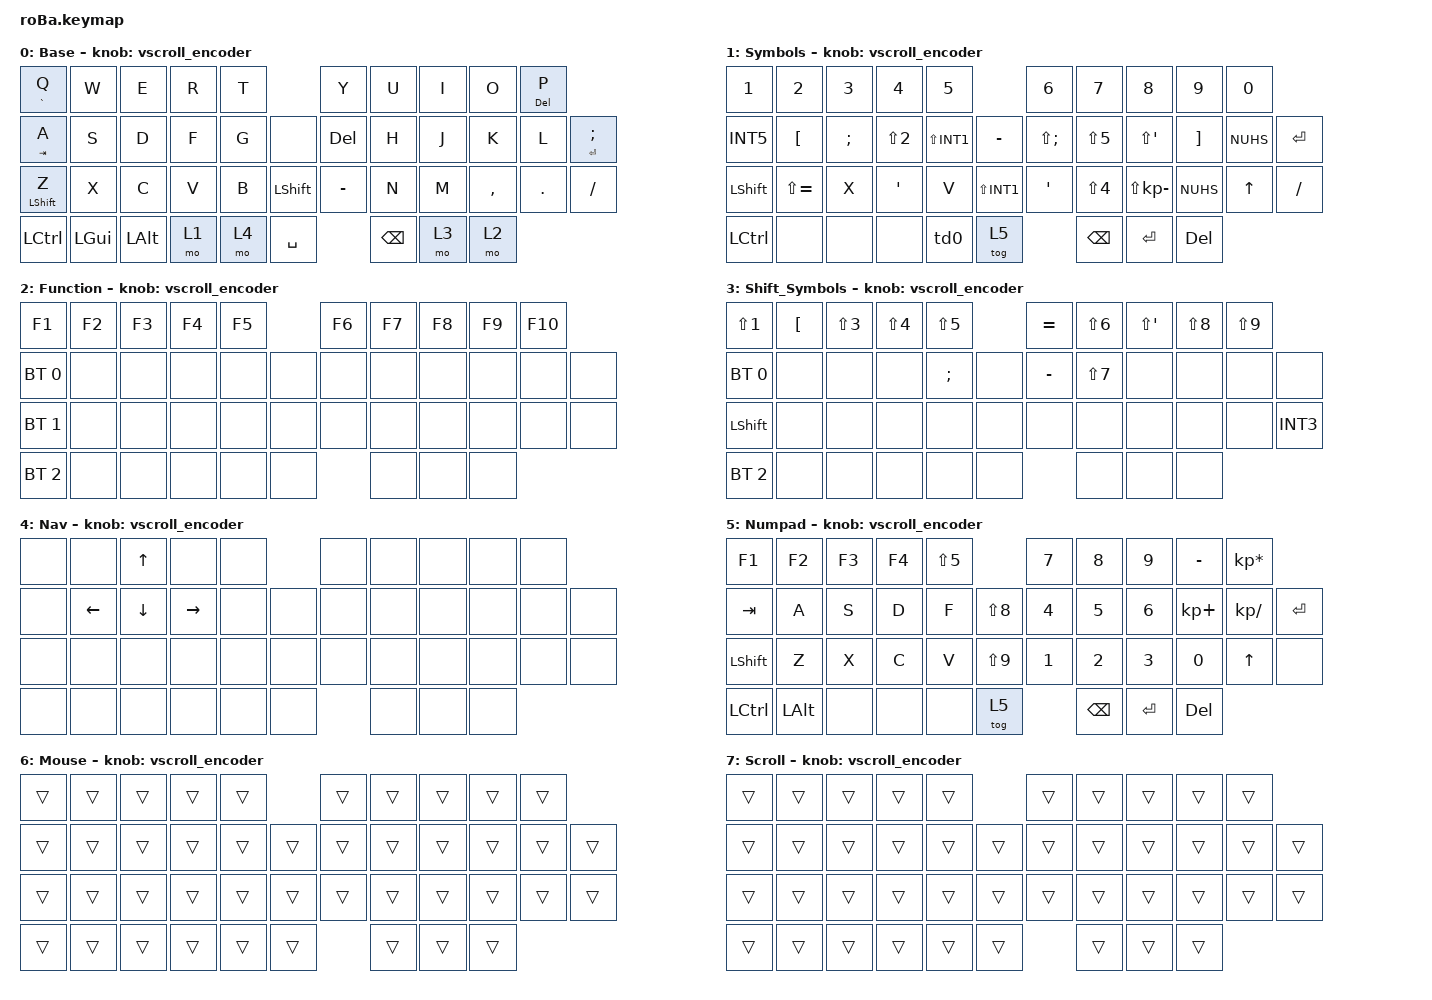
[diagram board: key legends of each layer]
/*
 * Copyright (c) 2020 The ZMK Contributors
 *
 * SPDX-License-Identifier: MIT
 *
 * roBa (kumamuk-git/zmk-config-roBa) 向けキーマップ 第3稿。
 * ベースとなった cornix.keymap のレイヤー構成・コンボ・挙動をできるだけ踏襲。
 *
 * ユーザー指定のBase層配置に基づく物理キー position 番号(43キー構成):
 *   行0(上段)   : 0-9   (左5 + 右5)                Q..T | Y..P
 *   行1(A段)    : 10-21 (左5+ミュート + DEL+右5)    A..G,MUTE | DEL,H..SEMI
 *   行2(Z段)    : 22-33 (左5+LSHFT + MINUS+右5)     Z..B,LSHFT | MINUS,N..FSLH
 *   行3(親指段) : 34-42 (左6 + 右3)                 CTRL/WIN/ALT/MO1/MO4/SPACE | BSPC/MO3/MO2
 *
 * Cornix比での変更点:
 *   - 行1左端の6キー目は左エンコーダーの押し込み(ミュート)。
 *   - 行1右端の6キー目にDELを配置(Cornixでは上段outerだったが移設)。
 *   - 行2左端の6キー目にLSHFT。行2右端の6キー目にMINUS。
 *   - 親指はCornixとほぼ同じ並び(LCTRL/LGUI/LALT/MO1/MO4/SPACE | BSPC/MO3/MO2)。
 *     GRAVE/無変換(td0)は親指に収まらないため、Symbolsレイヤーの親指(旧mo4位置)に配置。
 *   - TAB/ENTERは物理キーが余らないため、それぞれ S+D / COMMA+DOT のコンボに変更。
 *   - alt_tabはB+MINUSコンボ、Scroll層はO+Pコンボ。
 *   - マウスボタンはCornix同様J+K(MB1)/H+K(MB2)/J+K+L(MB4)のホームローコンボ。
 *   - エンコーダーは左1個のみ、回転は全レイヤーで縦(上下)スクロール固定。
*     押し込み(旧ミュート)は回転時の誤爆が直らないため無効化(&none)。
 *
 * ★このファイルは第3稿です。触ってみて違和感があれば都度調整してください。
 */

#define ZMK_POINTING_DEFAULT_SCRL_VAL 15

#include <behaviors.dtsi>
#include <dt-bindings/zmk/bt.h>
#include <dt-bindings/zmk/keys.h>
#include <dt-bindings/zmk/pointing.h>

&trackball {
    automouse-layer = <6>;
    scroll-layers = <7>;
};

/ {
    behaviors {
        // tap: ` (GRAVE) / double-tap: 無変換(MHEN)  ※Symbolsレイヤーの親指に配置
        td0: tap_dance_grave_mhen {
            compatible = "zmk,behavior-tap-dance";
            #binding-cells = <0>;
            tapping-term-ms = <200>;
            bindings = <&kp GRAVE>, <&kp INT5>;
        };

        // 文字キー長押しで別キーを送る汎用ホールドタップ(小指外側列が無い分の代替)
        // 使い方: &ht <長押し時のキーコード> <タップ時のキーコード>
        ht: hold_tap_custom {
            compatible = "zmk,behavior-hold-tap";
            #binding-cells = <2>;
            tapping-term-ms = <200>;
            quick-tap-ms = <0>;
            flavor = "tap-preferred";
            bindings = <&kp>, <&kp>;
        };

        // 縦方向(上下)スクロール用エンコーダ回転 (CW, CCW) ※エンコーダー1個のため全レイヤー共通
        vscroll_encoder: vscroll_encoder {
            compatible = "zmk,behavior-sensor-rotate";
            #sensor-binding-cells = <0>;
            bindings = <&msc SCRL_DOWN>, <&msc SCRL_UP>;
        };
    };

    macros {
        // GUI+TAB (Windowsのタスク切替相当)
        alt_tab: alt_tab_macro {
            compatible = "zmk,behavior-macro";
            #binding-cells = <0>;
            bindings = <&macro_press &kp LGUI>,
                       <&macro_press &kp TAB>,
                       <&macro_pause_for_release>,
                       <&macro_release &kp TAB>,
                       <&macro_release &kp LGUI>;
        };
    };

    combos {
        compatible = "zmk,combos";

        combo_btn1 {
            bindings = <&mkp MB1>;
            key-positions = <18 19>; // J + K
        };

        combo_btn2 {
            bindings = <&mkp MB2>;
            key-positions = <17 19>; // H + K
        };

        combo_btn4 {
            bindings = <&mkp MB4>;
            key-positions = <18 19 20>; // J + K + L
        };

        combo_alt_tab {
            bindings = <&alt_tab>;
            key-positions = <26 28>; // B + MINUS (中央寄り)
        };

        combo_enter {
            bindings = <&kp ENTER>;
            key-positions = <31 32>; // COMMA + DOT
        };

        combo_scroll_layer {
            bindings = <&mo 7>;
            key-positions = <8 9>; // O + P -> Scroll層
        };
    };

    keymap {
        compatible = "zmk,keymap";

        layer_base {
            display-name = "Base";
            bindings = <
&ht GRAVE Q   &kp W         &kp E         &kp R         &kp T                          &kp Y         &kp U         &kp I         &kp O         &ht DEL P
&ht TAB A     &kp S         &kp D         &kp F         &kp G         &none            &kp DEL       &kp H         &kp J         &kp K         &kp L         &ht ENTER SEMI
&ht LSHFT Z   &kp X         &kp C         &kp V         &kp B         &kp LSHFT        &kp MINUS     &kp N         &kp M         &kp COMMA     &kp DOT       &kp FSLH
&kp LCTRL     &kp LGUI      &kp LALT      &mo 1         &mo 4         &kp SPACE                      &kp BSPC      &mo 3         &mo 2
            >;
            sensor-bindings = <&vscroll_encoder>;
        };

        layer_symbols {
            display-name = "Symbols";
            bindings = <
&kp N1        &kp N2        &kp N3        &kp N4        &kp N5                         &kp N6        &kp N7        &kp N8        &kp N9        &kp N0
&kp INT5      &kp LBKT      &kp SEMI      &kp LS(N2)    &kp LS(INT1)  &kp MINUS        &kp LS(SEMI)  &kp LS(N5)    &kp LS(SQT)   &kp RBKT      &kp NUHS      &kp ENTER
&kp LSHFT     &kp LS(EQUAL) &kp X         &kp SQT       &kp V         &kp LS(INT1)     &kp SQT       &kp LS(N4)    &kp LS(KP_MINUS)  &kp NUHS  &kp UP        &kp FSLH
&kp LCTRL     &none         &none         &none         &td0          &tog 5                         &kp BSPC      &kp ENTER     &kp DEL
            >;
            sensor-bindings = <&vscroll_encoder>;
        };

        layer_function {
            display-name = "Function";
            bindings = <
&kp F1        &kp F2        &kp F3        &kp F4        &kp F5                         &kp F6        &kp F7        &kp F8        &kp F9        &kp F10
&bt BT_SEL 0  &none         &none         &none         &none         &none            &none         &none         &none         &none         &none         &none
&bt BT_SEL 1  &none         &none         &none         &none         &none            &none         &none         &none         &none         &none         &none
&bt BT_SEL 2  &none         &none         &none         &none         &none                          &none         &none         &none
            >;
            sensor-bindings = <&vscroll_encoder>;
        };

        layer_shift_symbols {
            display-name = "Shift_Symbols";
            bindings = <
&kp LS(N1)    &kp LBKT      &kp LS(N3)    &kp LS(N4)    &kp LS(N5)                     &kp EQUAL     &kp LS(N6)    &kp LS(SQT)   &kp LS(N8)    &kp LS(N9)
&bt BT_SEL 0  &none         &none         &none         &kp SEMI      &none            &kp MINUS     &kp LS(N7)    &none         &none         &none         &none
&kp LSHFT     &none         &none         &none         &none         &none            &none         &none         &none         &none         &none         &kp INT3
&bt BT_SEL 2  &none         &none         &none         &none         &none                          &none         &none         &none
            >;
            sensor-bindings = <&vscroll_encoder>;
        };

        layer_nav {
            display-name = "Nav";
            bindings = <
&none         &none         &kp UP        &none         &none                          &none         &none         &none         &none         &none
&none         &kp LEFT      &kp DOWN      &kp RIGHT     &none         &none            &none         &none         &none         &none         &none         &none
&none         &none         &none         &none         &none         &none            &none         &none         &none         &none         &none         &none
&none         &none         &none         &none         &none         &none                          &none         &none         &none
            >;
            sensor-bindings = <&vscroll_encoder>;
        };

        layer_numpad {
            display-name = "Numpad";
            bindings = <
&kp F1        &kp F2        &kp F3        &kp F4        &kp LS(N5)                     &kp N7        &kp N8        &kp N9        &kp MINUS     &kp KP_MULTIPLY
&kp TAB       &kp A         &kp S         &kp D         &kp F         &kp LS(N8)       &kp N4        &kp N5        &kp N6        &kp KP_PLUS   &kp KP_DIVIDE &kp ENTER
&kp LSHFT     &kp Z         &kp X         &kp C         &kp V         &kp LS(N9)       &kp N1        &kp N2        &kp N3        &kp N0        &kp UP        &none
&kp LCTRL     &kp LALT      &none         &none         &none         &tog 5                         &kp BSPC      &kp ENTER     &kp DEL
            >;
            sensor-bindings = <&vscroll_encoder>;
        };

        layer_mouse {
            display-name = "Mouse";
            bindings = <
&trans        &trans        &trans        &trans        &trans                         &trans        &trans        &trans        &trans        &trans
&trans        &trans        &trans        &trans        &trans        &trans           &trans        &trans        &trans        &trans        &trans        &trans
&trans        &trans        &trans        &trans        &trans        &trans           &trans        &trans        &trans        &trans        &trans        &trans
&trans        &trans        &trans        &trans        &trans        &trans                         &trans        &trans        &trans
            >;
            sensor-bindings = <&vscroll_encoder>;
        };

        layer_scroll {
            display-name = "Scroll";
            bindings = <
&trans        &trans        &trans        &trans        &trans                         &trans        &trans        &trans        &trans        &trans
&trans        &trans        &trans        &trans        &trans        &trans           &trans        &trans        &trans        &trans        &trans        &trans
&trans        &trans        &trans        &trans        &trans        &trans           &trans        &trans        &trans        &trans        &trans        &trans
&trans        &trans        &trans        &trans        &trans        &trans                         &trans        &trans        &trans
            >;
            sensor-bindings = <&vscroll_encoder>;
        };
    };
};
